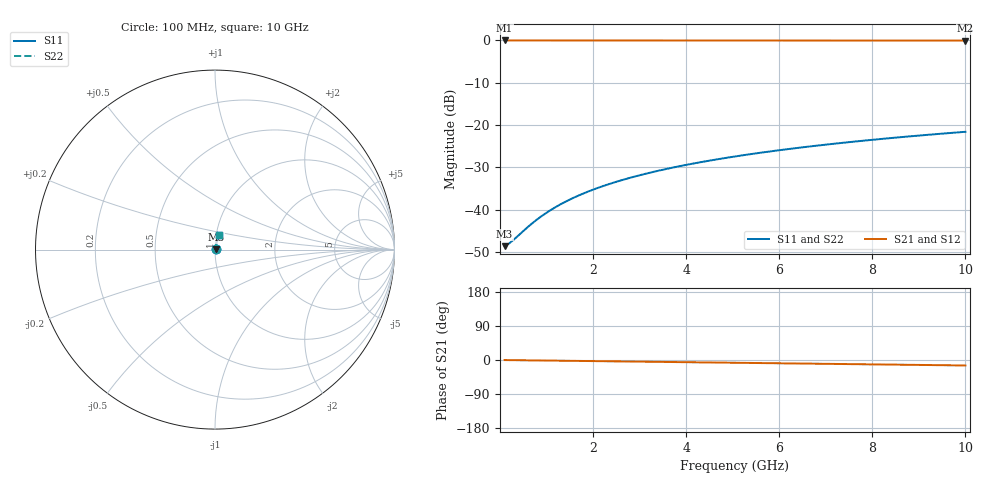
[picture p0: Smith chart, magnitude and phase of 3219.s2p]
# Hz S RI R 50.00
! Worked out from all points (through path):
!   100 points, 100 MHz to 10 GHz, reference 50 ohm
!   highest |S21| = -0.03 dB at 100 MHz (marker M1); lowest = -0.1 dB at 10 GHz (marker M2)
!   group delay of S21, straight-line fit = 4.01 ps
!   lowest |S11| = -48.6 dB at 100 MHz (marker M3), VSWR 1.01, Z = 50.4 + j0.0837 ohm
!   |S11| at or under -10 dB: start of sweep to end of sweep
!   |S22| runs from -48.6 to -21.6 dB; largest |S21 - S12| = 0
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1e8  0.00361 0.000831  0.9964 -0.00251  0.9964 -0.00251  0.00361 0.000831
2e8  0.00364 0.00166  0.9964 -0.00502  0.9964 -0.00502  0.00364 0.00166
3e8  0.00366 0.00249  0.9963 -0.00753  0.9963 -0.00753  0.00366 0.00249
6e8  0.00375 0.00498  0.9962 -0.0151  0.9962 -0.0151  0.00375 0.00498
7e8  0.00379 0.00581  0.9961 -0.0176  0.9961 -0.0176  0.00379 0.00581
8e8  0.00383 0.00664  0.9961 -0.0201  0.9961 -0.0201  0.00383 0.00664
1e9  0.00392 0.0083  0.9959 -0.0251  0.9959 -0.0251  0.00392 0.0083
1.2e9  0.00403 0.00996  0.9958 -0.0301  0.9958 -0.0301  0.00403 0.00996
1.4e9  0.00415 0.0116  0.9956 -0.0351  0.9956 -0.0351  0.00415 0.0116
1.6e9  0.00428 0.0133  0.9953 -0.0401  0.9953 -0.0401  0.00428 0.0133
1.8e9  0.00443 0.0149  0.9951 -0.0452  0.9951 -0.0452  0.00443 0.0149
2.1e9  0.00469 0.0174  0.9947 -0.0527  0.9947 -0.0527  0.00469 0.0174
2.5e9  0.00509 0.0207  0.994 -0.0627  0.994 -0.0627  0.00509 0.0207
2.9e9  0.00556 0.024  0.9932 -0.0727  0.9932 -0.0727  0.00556 0.024
3.4e9  0.00623 0.0281  0.9921 -0.0852  0.9921 -0.0852  0.00623 0.0281
4.2e9  0.00753 0.0346  0.9899 -0.1051  0.9899 -0.1051  0.00753 0.0346
5.1e9  0.00929 0.0419  0.9869 -0.1275  0.9869 -0.1275  0.00929 0.0419
5.9e9  0.0111 0.0482  0.9838 -0.1473  0.9838 -0.1473  0.0111 0.0482
6.7e9  0.0132 0.0545  0.9803 -0.167  0.9803 -0.167  0.0132 0.0545
7.5e9  0.0156 0.0607  0.9763 -0.1867  0.9763 -0.1867  0.0156 0.0607
8.4e9  0.0185 0.0676  0.9713 -0.2086  0.9713 -0.2086  0.0185 0.0676
1e10  0.0245 0.0794  0.9611 -0.2473  0.9611 -0.2473  0.0245 0.0794
